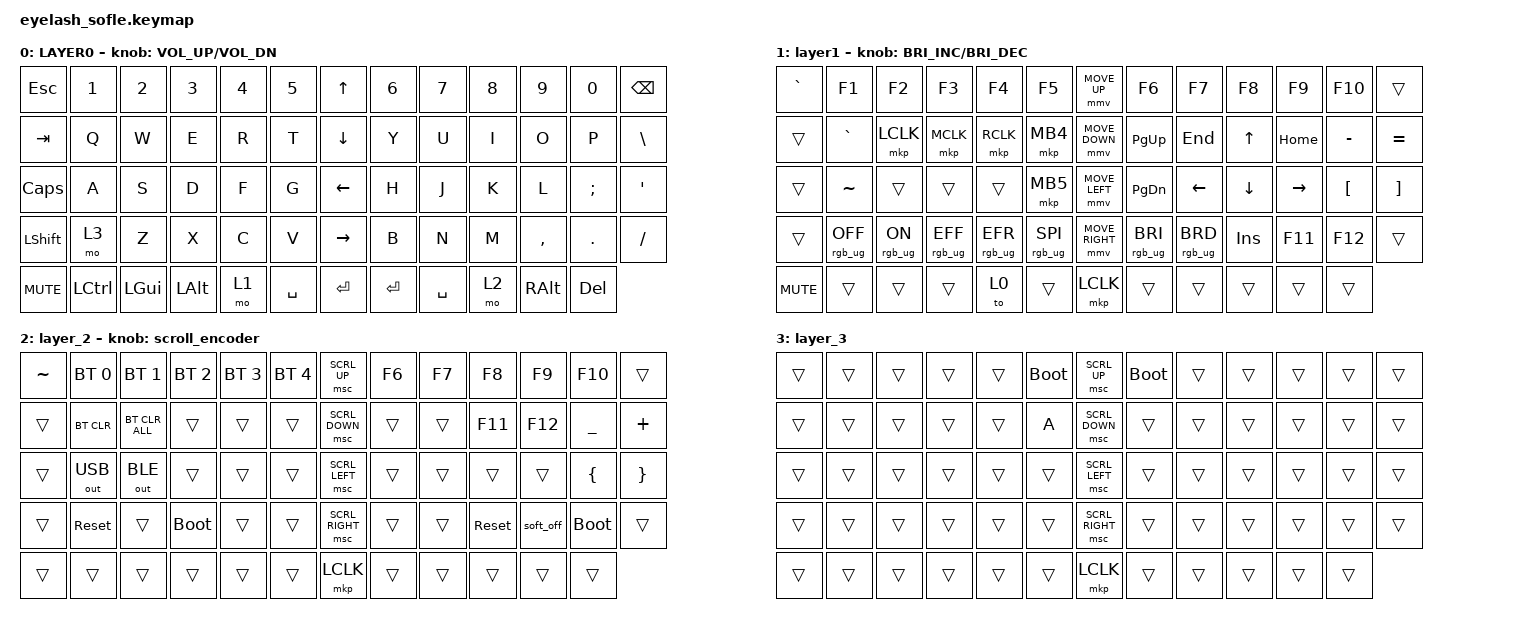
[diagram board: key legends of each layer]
#define ZMK_POINTING_DEFAULT_MOVE_VAL 700  // 600
#define ZMK_POINTING_DEFAULT_SCRL_VAL 15   // 10

#include <input/processors.dtsi>
#include <zephyr/dt-bindings/input/input-event-codes.h>
#include <behaviors.dtsi>
#include <dt-bindings/zmk/bt.h>
#include <dt-bindings/zmk/keys.h>
#include <dt-bindings/zmk/outputs.h>
#include <dt-bindings/zmk/pointing.h>
#include <dt-bindings/zmk/rgb.h>

&mmv_input_listener { input-processors = <&zip_xy_scaler 2 1>; };

&msc_input_listener { input-processors = <&zip_scroll_scaler 2 1>; };

&msc {
    acceleration-exponent = <1>;      // 0
    time-to-max-speed-ms = <100>;       // 300
    delay-ms = <0>;                   // 0
};

&mmv {
    time-to-max-speed-ms = <500>;
    acceleration-exponent = <1>;
    trigger-period-ms = <16>;
};

/ {
    scroll_encoder: scroll_encoder {
        compatible = "zmk,behavior-sensor-rotate";
        #sensor-binding-cells = <0>;
        bindings = <&msc SCRL_DOWN>, <&msc SCRL_UP>;

        tap-ms = <100>;
    };

    behaviors {
    };

    keymap {
        compatible = "zmk,keymap";

        layer0 {
            bindings = <
&kp ESC       &kp N1     &kp N2        &kp N3        &kp N4  &kp N5       &kp UP_ARROW     &kp N6     &kp N7     &kp N8  &kp N9         &kp N0      &kp BACKSPACE
&kp TAB       &kp Q      &kp W         &kp E         &kp R   &kp T        &kp DOWN_ARROW   &kp Y      &kp U      &kp I   &kp O          &kp P       &kp BSLH
&kp CAPSLOCK  &kp A      &kp S         &kp D         &kp F   &kp G        &kp LEFT_ARROW   &kp H      &kp J      &kp K   &kp L          &kp SEMI    &kp APOS
&kp LSHFT     &mo 3      &kp Z         &kp X         &kp C   &kp V        &kp RIGHT_ARROW  &kp B      &kp N      &kp M   &kp COMMA      &kp DOT     &kp FSLH
&kp C_MUTE    &kp LCTRL  &kp LEFT_GUI  &kp LEFT_ALT  &mo 1   &kp SPACE    &kp ENTER        &kp ENTER  &kp SPACE  &mo 2   &kp RIGHT_ALT  &kp DELETE
            >;

            sensor-bindings = <&inc_dec_kp C_VOLUME_UP C_VOL_DN>;
            display-name = "LAYER0";
        };

        layer_1 {
            bindings = <
&kp GRAVE   &kp F1           &kp F2          &kp F3           &kp F4           &kp F5             &mmv MOVE_UP     &kp F6           &kp F7           &kp F8      &kp F9     &kp F10           &trans
&trans      &kp GRAVE        &mkp LCLK       &mkp MCLK        &mkp RCLK        &mkp MB4           &mmv MOVE_DOWN   &kp PG_UP        &kp END          &kp UP      &kp HOME   &kp MINUS         &kp EQUAL
&trans      &kp TILDE        &trans          &trans           &trans           &mkp MB5           &mmv MOVE_LEFT   &kp PG_DN        &kp LEFT         &kp DOWN    &kp RIGHT  &kp LEFT_BRACKET  &kp RIGHT_BRACKET
&trans      &rgb_ug RGB_OFF  &rgb_ug RGB_ON  &rgb_ug RGB_EFF  &rgb_ug RGB_EFR  &rgb_ug RGB_SPI    &mmv MOVE_RIGHT  &rgb_ug RGB_BRI  &rgb_ug RGB_BRD  &kp INSERT  &kp F11    &kp F12           &trans
&kp C_MUTE  &trans           &trans          &trans           &to 0            &trans             &mkp LCLK        &trans           &trans           &trans      &trans     &trans
            >;

            display-name = "layer1";
            sensor-bindings = <&inc_dec_kp C_BRIGHTNESS_INC C_BRIGHTNESS_DEC>;
        };

        layer_2 {
            bindings = <
&kp TILDE  &bt BT_SEL 0  &bt BT_SEL 1    &bt BT_SEL 2  &bt BT_SEL 3  &bt BT_SEL 4    &msc SCRL_UP     &kp F6  &kp F7  &kp F8      &kp F9     &kp F10      &trans
&trans     &bt BT_CLR    &bt BT_CLR_ALL  &trans        &trans        &trans          &msc SCRL_DOWN   &trans  &trans  &kp F11     &kp F12    &kp UNDER    &kp PLUS
&trans     &out OUT_USB  &out OUT_BLE    &trans        &trans        &trans          &msc SCRL_LEFT   &trans  &trans  &trans      &trans     &kp LBRC     &kp RBRC
&trans     &sys_reset    &trans          &bootloader   &trans        &trans          &msc SCRL_RIGHT  &trans  &trans  &sys_reset  &soft_off  &bootloader  &trans
&trans     &trans        &trans          &trans        &trans        &trans          &mkp LCLK        &trans  &trans  &trans      &trans     &trans
            >;

            sensor-bindings = <&scroll_encoder>;
        };

        layer_3 {
            bindings = <
&trans  &trans  &trans  &trans  &trans  &bootloader    &msc SCRL_UP     &bootloader  &trans  &trans  &trans  &trans  &trans
&trans  &trans  &trans  &trans  &trans  &kp A          &msc SCRL_DOWN   &trans       &trans  &trans  &trans  &trans  &trans
&trans  &trans  &trans  &trans  &trans  &trans         &msc SCRL_LEFT   &trans       &trans  &trans  &trans  &trans  &trans
&trans  &trans  &trans  &trans  &trans  &trans         &msc SCRL_RIGHT  &trans       &trans  &trans  &trans  &trans  &trans
&trans  &trans  &trans  &trans  &trans  &trans         &mkp LCLK        &trans       &trans  &trans  &trans  &trans
            >;
        };
    };
};
